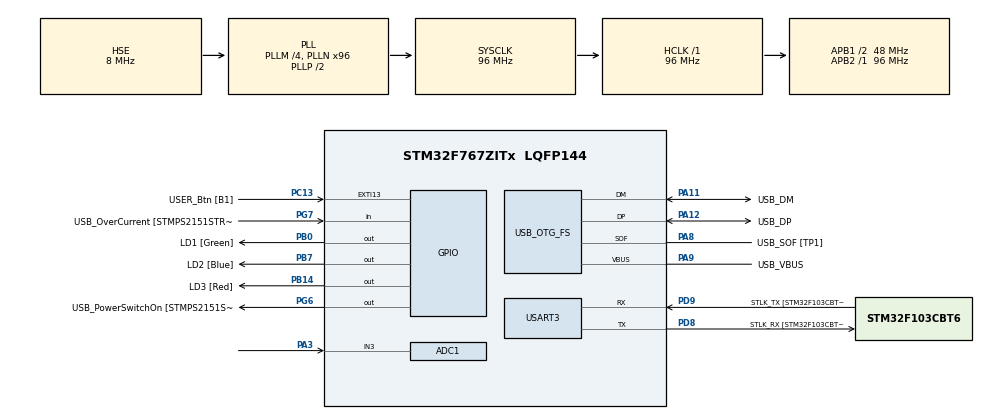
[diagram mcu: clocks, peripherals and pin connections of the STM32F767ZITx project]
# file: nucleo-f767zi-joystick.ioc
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ADC1.Channel-0\#ChannelRegularConversion=ADC_CHANNEL_3
ADC1.NbrOfConversion=1
ADC1.NbrOfConversionFlag=1
ADC1.Rank-0\#ChannelRegularConversion=1
ADC1.SamplingTime-0\#ChannelRegularConversion=ADC_SAMPLETIME_3CYCLES
ADC1.master=1
Mcu.Family=STM32F7
Mcu.Name=STM32F767ZITx
Mcu.Package=LQFP144
NVIC.PriorityGroup=NVIC_PRIORITYGROUP_4
PA1.GPIO_Label=RMII_REF_CLK [LAN8742A-CZ-TR_REFCLK0]
PA1.Signal=ETH_REF_CLK
PA10.GPIO_Label=USB_ID
PA10.Signal=USB_OTG_FS_ID
PA11.GPIO_Label=USB_DM
PA11.Mode=Device_Only
PA11.Signal=USB_OTG_FS_DM
PA12.GPIO_Label=USB_DP
PA12.Mode=Device_Only
PA12.Signal=USB_OTG_FS_DP
PA13.GPIO_Label=TMS
PA13.Mode=Serial_Wire
PA13.Signal=SYS_JTMS-SWDIO
PA14.GPIO_Label=TCK
PA14.Mode=Serial_Wire
PA14.Signal=SYS_JTCK-SWCLK
PA2.GPIO_Label=RMII_MDIO [LAN8742A-CZ-TR_MDIO]
PA2.Signal=ETH_MDIO
PA3.Signal=ADCx_IN3
PA7.GPIO_Label=RMII_CRS_DV [LAN8742A-CZ-TR_CRS_DV]
PA7.Signal=ETH_CRS_DV
PA8.GPIO_Label=USB_SOF [TP1]
PA8.Mode=Activate_SOF_FS
PA8.Signal=USB_OTG_FS_SOF
PA9.GPIO_Label=USB_VBUS
PA9.Mode=Activate_VBUS
PA9.Signal=USB_OTG_FS_VBUS
PB0.GPIO_Label=LD1 [Green]
PB0.Signal=GPIO_Output
PB13.GPIO_Label=RMII_TXD1 [LAN8742A-CZ-TR_TXD1]
PB13.Signal=ETH_TXD1
PB14.GPIO_Label=LD3 [Red]
PB14.Signal=GPIO_Output
PB3.GPIO_Label=SWO
PB3.Signal=SYS_JTDO-SWO
PB7.GPIO_Label=LD2 [Blue]
PB7.Signal=GPIO_Output
PC1.GPIO_Label=RMII_MDC [LAN8742A-CZ-TR_MDC]
PC1.Signal=ETH_MDC
PC13.GPIO_Label=USER_Btn [B1]
PC13.Signal=GPXTI13
PC14/OSC32_IN.Mode=LSE-External-Oscillator
PC14/OSC32_IN.Signal=RCC_OSC32_IN
PC15/OSC32_OUT.Mode=LSE-External-Oscillator
PC15/OSC32_OUT.Signal=RCC_OSC32_OUT
PC4.GPIO_Label=RMII_RXD0 [LAN8742A-CZ-TR_RXD0]
PC4.Signal=ETH_RXD0
PC5.GPIO_Label=RMII_RXD1 [LAN8742A-CZ-TR_RXD1]
PC5.Signal=ETH_RXD1
PD8.GPIO_Label=STLK_RX [STM32F103CBT6_PA3]
PD8.Mode=Asynchronous
PD8.Signal=USART3_TX
PD9.GPIO_Label=STLK_TX [STM32F103CBT6_PA2]
PD9.Mode=Asynchronous
PD9.Signal=USART3_RX
PG11.GPIO_Label=RMII_TX_EN [LAN8742A-CZ-TR_TXEN]
PG11.Signal=ETH_TX_EN
PG13.GPIO_Label=RMII_TXD0 [LAN8742A-CZ-TR_TXD0]
PG13.Signal=ETH_TXD0
PG6.GPIO_Label=USB_PowerSwitchOn [STMPS2151STR_EN]
PG6.Signal=GPIO_Output
PG7.GPIO_Label=USB_OverCurrent [STMPS2151STR_FAULT]
PG7.Signal=GPIO_Input
PH0/OSC_IN.GPIO_Label=MCO [STM32F103CBT6_PA8]
PH0/OSC_IN.Mode=HSE-External-Clock-Source
PH0/OSC_IN.Signal=RCC_OSC_IN
PH1/OSC_OUT.Mode=HSE-External-Clock-Source
PH1/OSC_OUT.Signal=RCC_OSC_OUT
ProjectManager.HeapSize=0x200
ProjectManager.StackSize=0x400
ProjectManager.TargetToolchain=STM32CubeIDE
RCC.48MHZClocksFreq_Value=24000000
RCC.AHBFreq_Value=96000000
RCC.APB1CLKDivider=RCC_HCLK_DIV2
RCC.APB1Freq_Value=48000000
RCC.APB1TimFreq_Value=96000000
RCC.APB2Freq_Value=96000000
RCC.APB2TimFreq_Value=96000000
RCC.CortexFreq_Value=96000000
RCC.HCLKFreq_Value=96000000
RCC.HSE_VALUE=8000000
RCC.HSI_VALUE=16000000
RCC.PLLM=4
RCC.PLLMUL=RCC_PLL_MUL9
RCC.PLLN=96
RCC.PLLQ=4
RCC.PRESCALERUSB=RCC_USBCLKSOURCE_PLL_DIV1_5
RCC.SYSCLKFreq_VALUE=96000000
RCC.SYSCLKSource=RCC_SYSCLKSOURCE_PLLCLK
RCC.SYSCLKSourceVirtual=RCC_SYSCLKSOURCE_PLLCLK
RCC.USBFreq_Value=48000000
RCC.VCOOutputFreq_Value=192000000
SH.ADCx_IN3.0=ADC1_IN3,IN3
USART3.VirtualMode-Asynchronous=VM_ASYNC
USB_OTG_FS.VirtualMode=Device_Only
board=NUCLEO-F767ZI

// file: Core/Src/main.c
/* USER CODE BEGIN Header */
/**
  ******************************************************************************
  * @file           : main.c
  * @brief          : Main program body
  ******************************************************************************
  * @attention
  *
  * Copyright (c) 2024 STMicroelectronics.
  * All rights reserved.
  *
  * This software is licensed under terms that can be found in the LICENSE file
  * in the root directory of this software component.
  * If no LICENSE file comes with this software, it is provided AS-IS.
  *
  ******************************************************************************
  */
/* USER CODE END Header */
#include "main.h"

/* USER CODE BEGIN Includes */
#include "stdio.h"
#include "stdint.h"
/* USER CODE END Includes */

ADC_HandleTypeDef hadc1;

UART_HandleTypeDef huart3;

PCD_HandleTypeDef hpcd_USB_OTG_FS;

void SystemClock_Config(void);
static void MX_GPIO_Init(void);
static void MX_USART3_UART_Init(void);
static void MX_USB_OTG_FS_PCD_Init(void);
static void MX_ADC1_Init(void);
/* USER CODE BEGIN PFP */

#ifdef __GNUC__
#define PUTCHAR_PROTOTYPE int __io_putchar(int ch)
#else
#define PUTCHAR_PROTOTYPE int fputc(int ch, FILE *f)
#endif

PUTCHAR_PROTOTYPE
{
  HAL_UART_Transmit(&huart3, (uint8_t *)&ch, 1, HAL_MAX_DELAY);
  return ch;
}

/* USER CODE END PFP */

int main(void)
{

  /* MCU Configuration--------------------------------------------------------*/

  /* Reset of all peripherals, Initializes the Flash interface and the Systick. */
  HAL_Init();

  /* Configure the system clock */
  SystemClock_Config();

  /* Initialize all configured peripherals */
  MX_GPIO_Init();
  MX_USART3_UART_Init();
  MX_USB_OTG_FS_PCD_Init();
  MX_ADC1_Init();
  /* USER CODE BEGIN 2 */
  printf("START HERE!!!\r\n");
  /* USER CODE END 2 */

  /* Infinite loop */
  /* USER CODE BEGIN WHILE */
  while (1)
  {
	  HAL_ADC_Start(&hadc1);
	  HAL_ADC_PollForConversion(&hadc1, HAL_MAX_DELAY);
	  int raw = HAL_ADC_GetValue(&hadc1);
	  // printf("    \r");
	  printf("Raw: %d\r\n", raw);
	  HAL_Delay(1);
    /* USER CODE END WHILE */

  }
}

void SystemClock_Config(void)
{
  RCC_OscInitTypeDef RCC_OscInitStruct = {0};
  RCC_ClkInitTypeDef RCC_ClkInitStruct = {0};

  /** Configure LSE Drive Capability
  */
  HAL_PWR_EnableBkUpAccess();

  /** Configure the main internal regulator output voltage
  */
  __HAL_RCC_PWR_CLK_ENABLE();
  __HAL_PWR_VOLTAGESCALING_CONFIG(PWR_REGULATOR_VOLTAGE_SCALE3);

  /** Initializes the RCC Oscillators according to the specified parameters
  * in the RCC_OscInitTypeDef structure.
  */
  RCC_OscInitStruct.OscillatorType = RCC_OSCILLATORTYPE_HSE;
  RCC_OscInitStruct.HSEState = RCC_HSE_BYPASS;
  RCC_OscInitStruct.PLL.PLLState = RCC_PLL_ON;
  RCC_OscInitStruct.PLL.PLLSource = RCC_PLLSOURCE_HSE;
  RCC_OscInitStruct.PLL.PLLM = 4;
  RCC_OscInitStruct.PLL.PLLN = 96;
  RCC_OscInitStruct.PLL.PLLP = RCC_PLLP_DIV2;
  RCC_OscInitStruct.PLL.PLLQ = 4;
  RCC_OscInitStruct.PLL.PLLR = 2;
  if (HAL_RCC_OscConfig(&RCC_OscInitStruct) != HAL_OK)
  {
    Error_Handler();
  }

  /** Activate the Over-Drive mode
  */
  if (HAL_PWREx_EnableOverDrive() != HAL_OK)
  {
    Error_Handler();
  }

  /** Initializes the CPU, AHB and APB buses clocks
  */
  RCC_ClkInitStruct.ClockType = RCC_CLOCKTYPE_HCLK|RCC_CLOCKTYPE_SYSCLK
                              |RCC_CLOCKTYPE_PCLK1|RCC_CLOCKTYPE_PCLK2;
  RCC_ClkInitStruct.SYSCLKSource = RCC_SYSCLKSOURCE_PLLCLK;
  RCC_ClkInitStruct.AHBCLKDivider = RCC_SYSCLK_DIV1;
  RCC_ClkInitStruct.APB1CLKDivider = RCC_HCLK_DIV2;
  RCC_ClkInitStruct.APB2CLKDivider = RCC_HCLK_DIV1;

  if (HAL_RCC_ClockConfig(&RCC_ClkInitStruct, FLASH_LATENCY_3) != HAL_OK)
  {
    Error_Handler();
  }
}

static void MX_ADC1_Init(void)
{

  ADC_ChannelConfTypeDef sConfig = {0};

  /** Configure the global features of the ADC (Clock, Resolution, Data Alignment and number of conversion)
  */
  hadc1.Instance = ADC1;
  hadc1.Init.ClockPrescaler = ADC_CLOCK_SYNC_PCLK_DIV4;
  hadc1.Init.Resolution = ADC_RESOLUTION_12B;
  hadc1.Init.ScanConvMode = ADC_SCAN_DISABLE;
  hadc1.Init.ContinuousConvMode = DISABLE;
  hadc1.Init.DiscontinuousConvMode = DISABLE;
  hadc1.Init.ExternalTrigConvEdge = ADC_EXTERNALTRIGCONVEDGE_NONE;
  hadc1.Init.ExternalTrigConv = ADC_SOFTWARE_START;
  hadc1.Init.DataAlign = ADC_DATAALIGN_RIGHT;
  hadc1.Init.NbrOfConversion = 1;
  hadc1.Init.DMAContinuousRequests = DISABLE;
  hadc1.Init.EOCSelection = ADC_EOC_SINGLE_CONV;
  if (HAL_ADC_Init(&hadc1) != HAL_OK)
  {
    Error_Handler();
  }

  /** Configure for the selected ADC regular channel its corresponding rank in the sequencer and its sample time.
  */
  sConfig.Channel = ADC_CHANNEL_3;
  sConfig.Rank = ADC_REGULAR_RANK_1;
  sConfig.SamplingTime = ADC_SAMPLETIME_3CYCLES;
  if (HAL_ADC_ConfigChannel(&hadc1, &sConfig) != HAL_OK)
  {
    Error_Handler();
  }

}

static void MX_USART3_UART_Init(void)
{

  huart3.Instance = USART3;
  huart3.Init.BaudRate = 115200;
  huart3.Init.WordLength = UART_WORDLENGTH_8B;
  huart3.Init.StopBits = UART_STOPBITS_1;
  huart3.Init.Parity = UART_PARITY_NONE;
  huart3.Init.Mode = UART_MODE_TX_RX;
  huart3.Init.HwFlowCtl = UART_HWCONTROL_NONE;
  huart3.Init.OverSampling = UART_OVERSAMPLING_16;
  huart3.Init.OneBitSampling = UART_ONE_BIT_SAMPLE_DISABLE;
  huart3.AdvancedInit.AdvFeatureInit = UART_ADVFEATURE_NO_INIT;
  if (HAL_UART_Init(&huart3) != HAL_OK)
  {
    Error_Handler();
  }

}

static void MX_USB_OTG_FS_PCD_Init(void)
{

  hpcd_USB_OTG_FS.Instance = USB_OTG_FS;
  hpcd_USB_OTG_FS.Init.dev_endpoints = 6;
  hpcd_USB_OTG_FS.Init.speed = PCD_SPEED_FULL;
  hpcd_USB_OTG_FS.Init.dma_enable = DISABLE;
  hpcd_USB_OTG_FS.Init.phy_itface = PCD_PHY_EMBEDDED;
  hpcd_USB_OTG_FS.Init.Sof_enable = ENABLE;
  hpcd_USB_OTG_FS.Init.low_power_enable = DISABLE;
  hpcd_USB_OTG_FS.Init.lpm_enable = DISABLE;
  hpcd_USB_OTG_FS.Init.vbus_sensing_enable = ENABLE;
  hpcd_USB_OTG_FS.Init.use_dedicated_ep1 = DISABLE;
  if (HAL_PCD_Init(&hpcd_USB_OTG_FS) != HAL_OK)
  {
    Error_Handler();
  }

}

static void MX_GPIO_Init(void)
{
  GPIO_InitTypeDef GPIO_InitStruct = {0};

  /* GPIO Ports Clock Enable */
  __HAL_RCC_GPIOC_CLK_ENABLE();
  __HAL_RCC_GPIOH_CLK_ENABLE();
  __HAL_RCC_GPIOA_CLK_ENABLE();
  __HAL_RCC_GPIOB_CLK_ENABLE();
  __HAL_RCC_GPIOD_CLK_ENABLE();
  __HAL_RCC_GPIOG_CLK_ENABLE();

  /*Configure GPIO pin Output Level */
  HAL_GPIO_WritePin(GPIOB, LD1_Pin|LD3_Pin|LD2_Pin, GPIO_PIN_RESET);

  /*Configure GPIO pin Output Level */
  HAL_GPIO_WritePin(USB_PowerSwitchOn_GPIO_Port, USB_PowerSwitchOn_Pin, GPIO_PIN_RESET);

  /*Configure GPIO pin : USER_Btn_Pin */
  GPIO_InitStruct.Pin = USER_Btn_Pin;
  GPIO_InitStruct.Mode = GPIO_MODE_IT_RISING;
  GPIO_InitStruct.Pull = GPIO_NOPULL;
  HAL_GPIO_Init(USER_Btn_GPIO_Port, &GPIO_InitStruct);

  /*Configure GPIO pins : RMII_MDC_Pin RMII_RXD0_Pin RMII_RXD1_Pin */
  GPIO_InitStruct.Pin = RMII_MDC_Pin|RMII_RXD0_Pin|RMII_RXD1_Pin;
  GPIO_InitStruct.Mode = GPIO_MODE_AF_PP;
  GPIO_InitStruct.Pull = GPIO_NOPULL;
  GPIO_InitStruct.Speed = GPIO_SPEED_FREQ_VERY_HIGH;
  GPIO_InitStruct.Alternate = GPIO_AF11_ETH;
  HAL_GPIO_Init(GPIOC, &GPIO_InitStruct);

  /*Configure GPIO pins : RMII_REF_CLK_Pin RMII_MDIO_Pin RMII_CRS_DV_Pin */
  GPIO_InitStruct.Pin = RMII_REF_CLK_Pin|RMII_MDIO_Pin|RMII_CRS_DV_Pin;
  GPIO_InitStruct.Mode = GPIO_MODE_AF_PP;
  GPIO_InitStruct.Pull = GPIO_NOPULL;
  GPIO_InitStruct.Speed = GPIO_SPEED_FREQ_VERY_HIGH;
  GPIO_InitStruct.Alternate = GPIO_AF11_ETH;
  HAL_GPIO_Init(GPIOA, &GPIO_InitStruct);

  /*Configure GPIO pins : LD1_Pin LD3_Pin LD2_Pin */
  GPIO_InitStruct.Pin = LD1_Pin|LD3_Pin|LD2_Pin;
  GPIO_InitStruct.Mode = GPIO_MODE_OUTPUT_PP;
  GPIO_InitStruct.Pull = GPIO_NOPULL;
  GPIO_InitStruct.Speed = GPIO_SPEED_FREQ_LOW;
  HAL_GPIO_Init(GPIOB, &GPIO_InitStruct);

  /*Configure GPIO pin : RMII_TXD1_Pin */
  GPIO_InitStruct.Pin = RMII_TXD1_Pin;
  GPIO_InitStruct.Mode = GPIO_MODE_AF_PP;
  GPIO_InitStruct.Pull = GPIO_NOPULL;
  GPIO_InitStruct.Speed = GPIO_SPEED_FREQ_VERY_HIGH;
  GPIO_InitStruct.Alternate = GPIO_AF11_ETH;
  HAL_GPIO_Init(RMII_TXD1_GPIO_Port, &GPIO_InitStruct);

  /*Configure GPIO pin : USB_PowerSwitchOn_Pin */
  GPIO_InitStruct.Pin = USB_PowerSwitchOn_Pin;
  GPIO_InitStruct.Mode = GPIO_MODE_OUTPUT_PP;
  GPIO_InitStruct.Pull = GPIO_NOPULL;
  GPIO_InitStruct.Speed = GPIO_SPEED_FREQ_LOW;
  HAL_GPIO_Init(USB_PowerSwitchOn_GPIO_Port, &GPIO_InitStruct);

  /*Configure GPIO pin : USB_OverCurrent_Pin */
  GPIO_InitStruct.Pin = USB_OverCurrent_Pin;
  GPIO_InitStruct.Mode = GPIO_MODE_INPUT;
  GPIO_InitStruct.Pull = GPIO_NOPULL;
  HAL_GPIO_Init(USB_OverCurrent_GPIO_Port, &GPIO_InitStruct);

  /*Configure GPIO pins : RMII_TX_EN_Pin RMII_TXD0_Pin */
  GPIO_InitStruct.Pin = RMII_TX_EN_Pin|RMII_TXD0_Pin;
  GPIO_InitStruct.Mode = GPIO_MODE_AF_PP;
  GPIO_InitStruct.Pull = GPIO_NOPULL;
  GPIO_InitStruct.Speed = GPIO_SPEED_FREQ_VERY_HIGH;
  GPIO_InitStruct.Alternate = GPIO_AF11_ETH;
  HAL_GPIO_Init(GPIOG, &GPIO_InitStruct);

}

void Error_Handler(void)
{
  __disable_irq();
  while (1)
  {
  }
}
